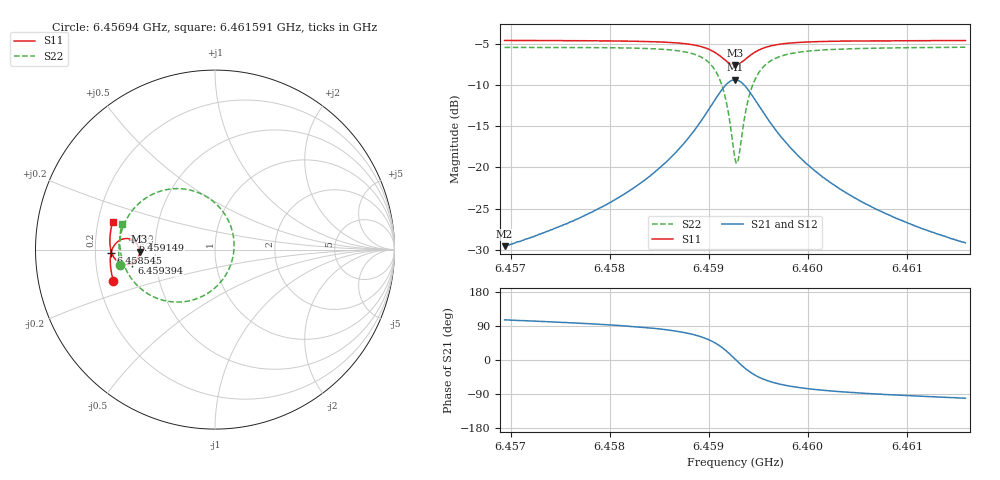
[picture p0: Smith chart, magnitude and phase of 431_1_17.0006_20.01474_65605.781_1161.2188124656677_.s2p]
#  HZ  S  RI  R  50.00
! Rohde & Schwarz Vector Network Analyzer
! Rohde-Schwarz,ZNB20-2Port,1311601062101988,3.16
! Created: UTC 3/20/2024, 11:11:21 PM
! freq[Hz]  re:S11  im:S11  re:S21  im:S21  re:S12  im:S12  re:S22  im:S22
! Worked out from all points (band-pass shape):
!   401 points, 6.45694 GHz to 6.461591 GHz, reference 50 ohm
!   highest |S21| = -9.33 dB at 6.459266 GHz (marker M1); lowest = -29.6 dB at 6.45694 GHz (marker M2)
!   |S21| within 3 dB of the highest: 6.459033 GHz to 6.459498 GHz (465 kHz wide, 0.0072 % of centre)
!   lowest |S11| = -7.5 dB at 6.459266 GHz (marker M3), VSWR 2.45, Z = 20.4 - j0.529 ohm
!   |S11| at or under -10 dB: nowhere
!   |S22| runs from -19.5 to -5.4 dB; largest |S21 - S12| = 0.013
!   S11 on the Smith chart (normalised r, x): 6.45694 GHz: 0.26, -0.14; 6.458545 GHz: 0.27, -0.01; 6.459149 GHz: 0.37, +0.05; 6.459394 GHz: 0.37, -0.07; 6.461591 GHz: 0.26, +0.12
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6.45694e9  -0.5658 -0.175  -0.009 0.032  -0.00729 0.032  -0.53 -0.088
6.4577191e9  -0.5803 -0.1072  -0.00582 0.0497  -0.00333 0.0491  -0.5361 0.00208
6.4581609e9  -0.5836 -0.063  0.000352 0.0696  0.00341 0.0683  -0.5282 0.0716
6.4584982e9  -0.5799 -0.0229  0.0136 0.0975  0.0175 0.0949  -0.504 0.1469
6.4585447e9  -0.5785 -0.0165  0.0168 0.1029  0.0209 0.1001  -0.4977 0.16
6.458754e9  -0.5664 0.0152  0.0427 0.1343  0.0467 0.1296  -0.4495 0.2313
6.4589052e9  -0.5454 0.0415  0.0847 0.1644  0.0881 0.158  -0.3722 0.2953
6.4590563e9  -0.4997 0.0612  0.1755 0.1836  0.1766 0.1763  -0.206 0.3398
6.4591494e9  -0.4556 0.0514  0.2647 0.1531  0.2649 0.1473  -0.0412 0.291
6.4591959e9  -0.4346 0.0328  0.3081 0.111  0.3093 0.1056  0.0412 0.216
6.4592656e9  -0.42 -0.0107  0.3413 0.0152  0.3448 0.00818  0.1062 0.0385
6.4592773e9  -0.4203 -0.0187  0.3412 -0.00253  0.345 -0.00993  0.1061 0.00524
6.4593005e9  -0.4237 -0.0341  0.3358 -0.0368  0.3395 -0.0458  0.0954 -0.0598
6.459347e9  -0.4392 -0.0598  0.3075 -0.0963  0.3098 -0.1079  0.039 -0.1718
6.4593936e9  -0.461 -0.076  0.2663 -0.1369  0.2654 -0.1499  -0.0448 -0.2463
6.4594866e9  -0.5039 -0.0826  0.1824 -0.168  0.1764 -0.1793  -0.2115 -0.2924
6.4596378e9  -0.5473 -0.0622  0.0954 -0.1545  0.0871 -0.1607  -0.3774 -0.2442
6.4598005e9  -0.5686 -0.0345  0.051 -0.1271  0.0435 -0.1297  -0.457 -0.1731
6.4600447e9  -0.5812 0.00105  0.0221 -0.0959  0.0164 -0.0965  -0.5047 -0.0914
6.4604052e9  -0.5857 0.0435  0.00593 -0.0688  0.00206 -0.0684  -0.5266 -0.0107
6.4608239e9  -0.5836 0.0852  -0.0013 -0.0513  -0.00416 -0.0504  -0.5304 0.0551
6.4615913e9  -0.571 0.153  -0.00655 -0.0341  -0.00812 -0.0332  -0.5189 0.1448
